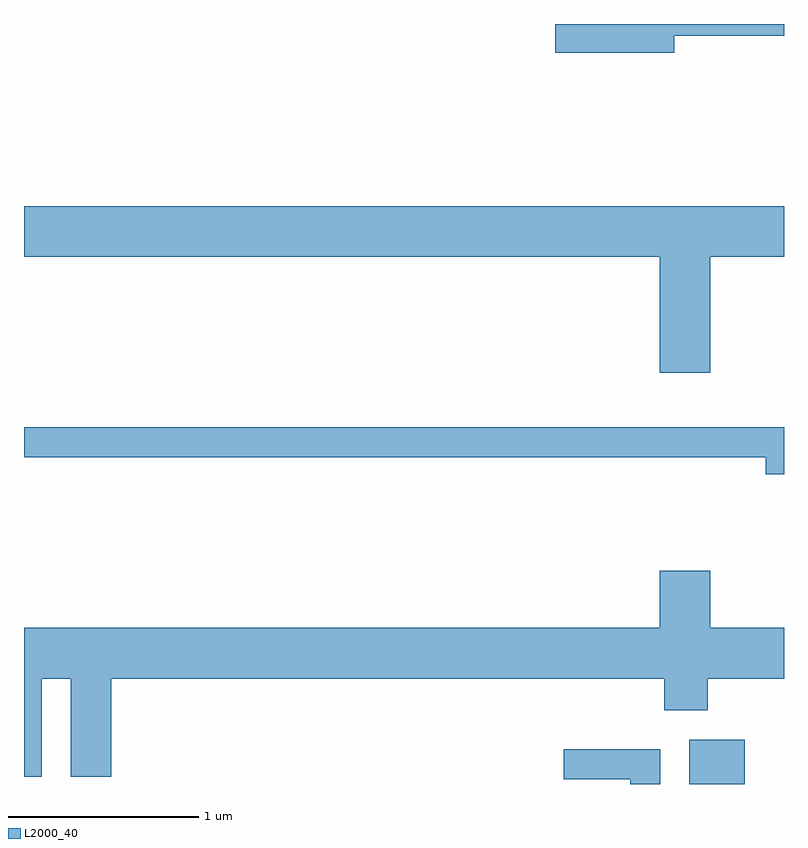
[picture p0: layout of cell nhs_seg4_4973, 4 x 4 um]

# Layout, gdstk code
import gdstk
lib = gdstk.Library(unit=1e-6, precision=1e-09)
def R(c, l, rs):  # rectangles x0, y0, x1, y1
    for r in rs: c.add(gdstk.rectangle(r[:2], r[2:], *l))
def P(c, l, *ps):  # polygons
    for p in ps: c.add(gdstk.Polygon(p, *l))
L2000_40 = (2000, 40)

nhs_seg4_4973 = lib.new_cell('nhs_seg4_4973')
R(nhs_seg4_4973, L2000_40, [(335.111,1271.982,335.404,1272.214)])
P(nhs_seg4_4973, L2000_40, [(335.034,1275.921),(335.611,1275.921),(335.611,1275.982),(334.406,1275.982),(334.406,1275.831),(335.034,1275.831)],
  [(335.224,1274.756),(335.611,1274.756),(335.611,1275.024),(331.611,1275.024),(331.611,1274.756),(334.956,1274.756),(334.956,1274.146),(335.224,1274.146)],
  [(335.611,1273.859),(331.611,1273.859),(331.611,1273.701),(335.516,1273.701),(335.516,1273.611),(335.611,1273.611)],
  [(331.704,1272.536),(331.856,1272.536),(331.856,1272.021),(332.069,1272.021),(332.069,1272.536),(334.981,1272.536),(334.981,1272.371),(335.209,1272.371),(335.209,1272.536),(335.611,1272.536),(335.611,1272.804),(335.224,1272.804),(335.224,1273.104),(334.956,1273.104),(334.956,1272.804),(331.611,1272.804),(331.611,1272.021),(331.704,1272.021)],
  [(334.959,1272.164),(334.453,1272.164),(334.453,1272.006),(334.801,1272.006),(334.801,1271.982),(334.959,1271.982)])

lib.write_gds('nhs_seg4_4973.gds')
